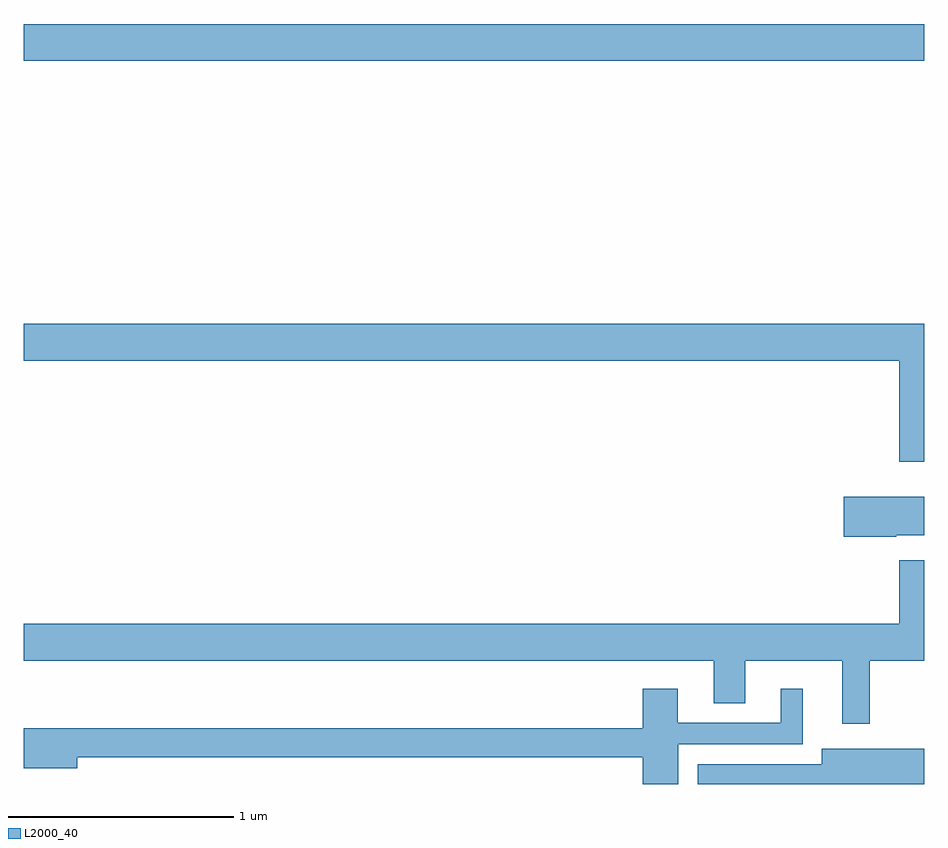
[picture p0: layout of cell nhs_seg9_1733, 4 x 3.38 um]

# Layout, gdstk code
import gdstk
lib = gdstk.Library(unit=1e-6, precision=1e-09)
def R(c, l, rs):  # rectangles x0, y0, x1, y1
    for r in rs: c.add(gdstk.rectangle(r[:2], r[2:], *l))
def P(c, l, *ps):  # polygons
    for p in ps: c.add(gdstk.Polygon(p, *l))
L2000_40 = (2000, 40)

nhs_seg9_1733 = lib.new_cell('nhs_seg9_1733')
R(nhs_seg9_1733, L2000_40, [(207,1237.712,211,1237.876)])
P(nhs_seg9_1733, L2000_40, [(211,1236.544),(207,1236.544),(207,1236.38),(210.888,1236.38),(210.888,1235.931),(211,1235.931)],
  [(210.876,1235.606),(211,1235.606),(211,1235.777),(210.642,1235.777),(210.642,1235.599),(210.876,1235.599)],
  [(210.757,1235.048),(211,1235.048),(211,1235.494),(210.888,1235.494),(210.888,1235.212),(207,1235.212),(207,1235.048),(210.065,1235.048),(210.065,1234.858),(210.205,1234.858),(210.205,1235.048),(210.635,1235.048),(210.635,1234.767),(210.757,1234.767)],
  [(209.908,1234.677),(210.46,1234.677),(210.46,1234.924),(210.362,1234.924),(210.362,1234.773),(209.905,1234.773),(209.905,1234.924),(209.75,1234.924),(209.75,1234.747),(207,1234.747),(207,1234.571),(207.238,1234.571),(207.238,1234.618),(209.75,1234.618),(209.75,1234.5),(209.908,1234.5)],
  [(211,1234.656),(210.545,1234.656),(210.545,1234.587),(209.993,1234.587),(209.993,1234.5),(211,1234.5)])

lib.write_gds('nhs_seg9_1733.gds')
